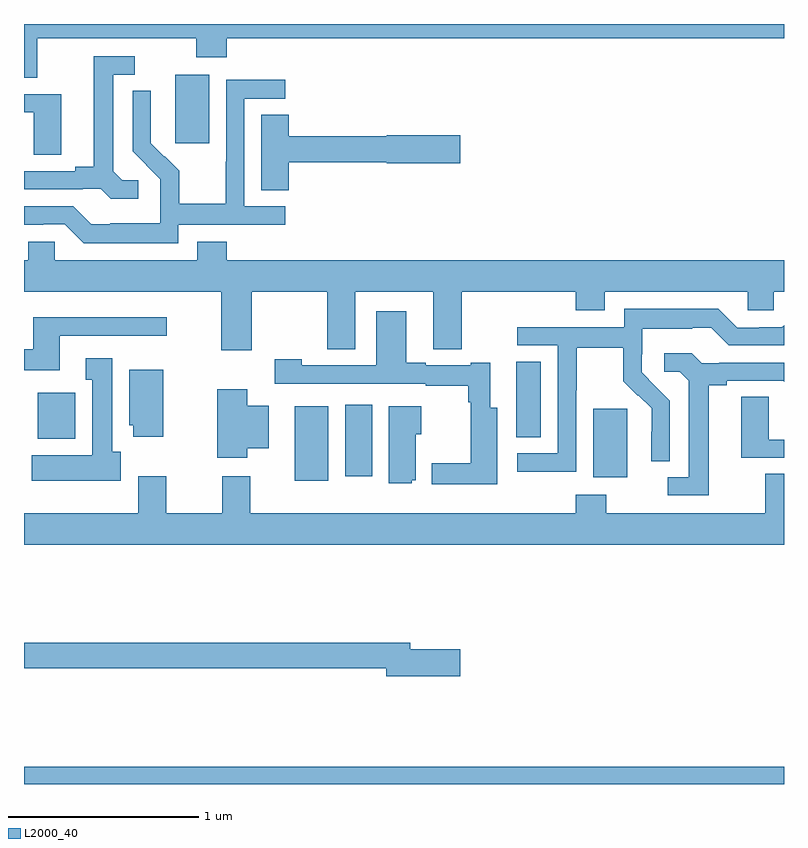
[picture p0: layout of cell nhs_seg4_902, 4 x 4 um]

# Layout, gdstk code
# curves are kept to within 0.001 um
import gdstk
lib = gdstk.Library(unit=1e-6, precision=1e-09)
def R(c, l, rs):  # rectangles x0, y0, x1, y1
    for r in rs: c.add(gdstk.rectangle(r[:2], r[2:], *l))
def P(c, l, *ps):  # polygons
    for p in ps: c.add(gdstk.Polygon(p, *l))
L2000_40 = (2000, 40)

nhs_seg4_902 = lib.new_cell('nhs_seg4_902')
R(nhs_seg4_902, L2000_40, [(157,788.9,161,788.992), (158.426,790.496,158.602,790.888), (159.995,790.514,160.174,790.875), (158.69,790.521,158.833,790.897), (157.073,790.718,157.27,790.96), (159.59,790.726,159.721,791.123), (157.796,792.273,157.975,792.634)])
P(nhs_seg4_902, L2000_40, [(157.069,792.824),(157.906,792.824),(157.906,792.725),(158.066,792.725),(158.066,792.824),(161,792.824),(161,792.9),(157,792.9),(157,792.616),(157.069,792.616)],
  [(157.6,792.078),(157.518,792.078),(157.471,792.125),(157.471,792.633),(157.582,792.633),(157.582,792.729),(157.367,792.729),(157.367,792.149),(157.271,792.149),(157.271,792.126),(157,792.126),(157,792.03),(157.31,792.03),(157.31,792.033),(157.404,792.033),(157.456,791.981),(157.6,791.981)],
  [(157.812,791.844),(158.374,791.844),(158.374,791.94),(158.16,791.94),(158.16,792.507),(158.374,792.507),(158.374,792.606),(158.064,792.606),(158.064,792.176),(158.062,792.176),(158.062,791.953),(157.817,791.953),(157.817,792.127),(157.74,792.204),(157.737,792.201),(157.667,792.272),(157.668,792.548),(157.572,792.548),(157.572,792.23),(157.718,792.082),(157.718,791.985),(157.716,791.985),(157.716,791.851),(157.453,791.851),(157.453,791.847),(157.353,791.847),(157.26,791.94),(157,791.94),(157,791.844),(157.1,791.844),(157.1,791.847),(157.215,791.847),(157.315,791.747),(157.812,791.747)],
  [(157.195,792.531),(157,792.531),(157,792.435),(157.05,792.435),(157.05,792.211),(157.195,792.211)],
  [(158.393,792.172),(158.91,792.172),(158.91,792.167),(159.295,792.167),(159.295,792.314),(158.91,792.314),(158.91,792.308),(158.393,792.308),(158.393,792.422),(158.249,792.422),(158.249,792.025),(158.393,792.025)],
  [(158.199,791.492),(158.596,791.492),(158.596,791.188),(158.743,791.188),(158.743,791.492),(159.155,791.492),(159.155,791.188),(159.303,791.188),(159.303,791.492),(159.905,791.492),(159.905,791.393),(160.057,791.393),(160.057,791.492),(160.809,791.492),(160.809,791.394),(160.947,791.394),(160.947,791.492),(161,791.492),(161,791.656),(158.066,791.656),(158.066,791.755),(157.913,791.755),(157.913,791.656),(157.161,791.656),(157.161,791.754),(157.023,791.754),(157.023,791.656),(157,791.656),(157,791.492),(158.039,791.492),(158.039,791.184),(158.199,791.184)],
  [(159.906,790.972),(159.909,790.972),(159.909,791.196),(160.153,791.196),(160.153,791.021),(160.23,790.944),(160.233,790.947),(160.304,790.877),(160.304,790.754),(160.302,790.754),(160.302,790.6),(160.398,790.6),(160.398,790.918),(160.252,791.066),(160.252,791.163),(160.254,791.163),(160.254,791.297),(160.517,791.297),(160.517,791.301),(160.617,791.301),(160.71,791.208),(161,791.208),(161,791.315),(160.989,791.304),(160.871,791.304),(160.871,791.301),(160.755,791.301),(160.655,791.401),(160.158,791.401),(160.158,791.304),(159.597,791.304),(159.597,791.208),(159.81,791.208),(159.81,790.641),(159.597,790.641),(159.597,790.543),(159.906,790.543)],
  [(159.49,790.879),(159.454,790.879),(159.454,791.116),(159.35,791.116),(159.35,791.103),(159.115,791.103),(159.115,791.116),(159.013,791.116),(159.013,791.389),(158.855,791.389),(158.855,791.103),(158.463,791.103),(158.463,791.136),(158.319,791.136),(158.319,791.007),(159.115,791.007),(159.115,790.995),(159.337,790.995),(159.337,790.91),(159.352,790.91),(159.352,790.588),(159.147,790.588),(159.147,790.478),(159.49,790.478)],
  [(157.189,791.259),(157.75,791.259),(157.75,791.356),(157.049,791.356),(157.049,791.188),(157,791.188),(157,791.078),(157.189,791.078)],
  [(160.603,791),(160.699,791),(160.699,791.022),(160.994,791.022),(161,791.016),(161,791.118),(160.66,791.118),(160.66,791.115),(160.566,791.115),(160.514,791.167),(160.371,791.167),(160.371,791.07),(160.452,791.07),(160.499,791.023),(160.499,790.515),(160.389,790.515),(160.389,790.419),(160.603,790.419)],
  [(157.51,790.65),(157.465,790.65),(157.465,791.14),(157.325,791.14),(157.325,791.027),(157.358,791.027),(157.358,790.63),(157.041,790.63),(157.041,790.496),(157.51,790.496)],
  [(157.732,791.08),(157.553,791.08),(157.553,790.788),(157.574,790.788),(157.574,790.728),(157.732,790.728)],
  [(158.176,790.667),(158.287,790.667),(158.287,790.891),(158.176,790.891),(158.176,790.978),(158.018,790.978),(158.018,790.617),(158.176,790.617)],
  [(161,790.713),(160.92,790.713),(160.92,790.937),(160.775,790.937),(160.775,790.617),(161,790.617)],
  [(159.042,790.5),(159.061,790.5),(159.061,790.741),(159.091,790.741),(159.091,790.888),(158.921,790.888),(158.921,790.484),(159.042,790.484)],
  [(161,790.532),(160.901,790.532),(160.901,790.324),(160.065,790.324),(160.065,790.423),(159.905,790.423),(159.905,790.324),(158.191,790.324),(158.191,790.519),(158.044,790.519),(158.044,790.324),(157.749,790.324),(157.749,790.519),(157.601,790.519),(157.601,790.324),(157,790.324),(157,790.16),(161,790.16)],
  [(159.295,789.608),(159.034,789.608),(159.034,789.644),(157,789.644),(157,789.508),(158.906,789.508),(158.906,789.466),(159.295,789.466)])

lib.write_gds('nhs_seg4_902.gds')
